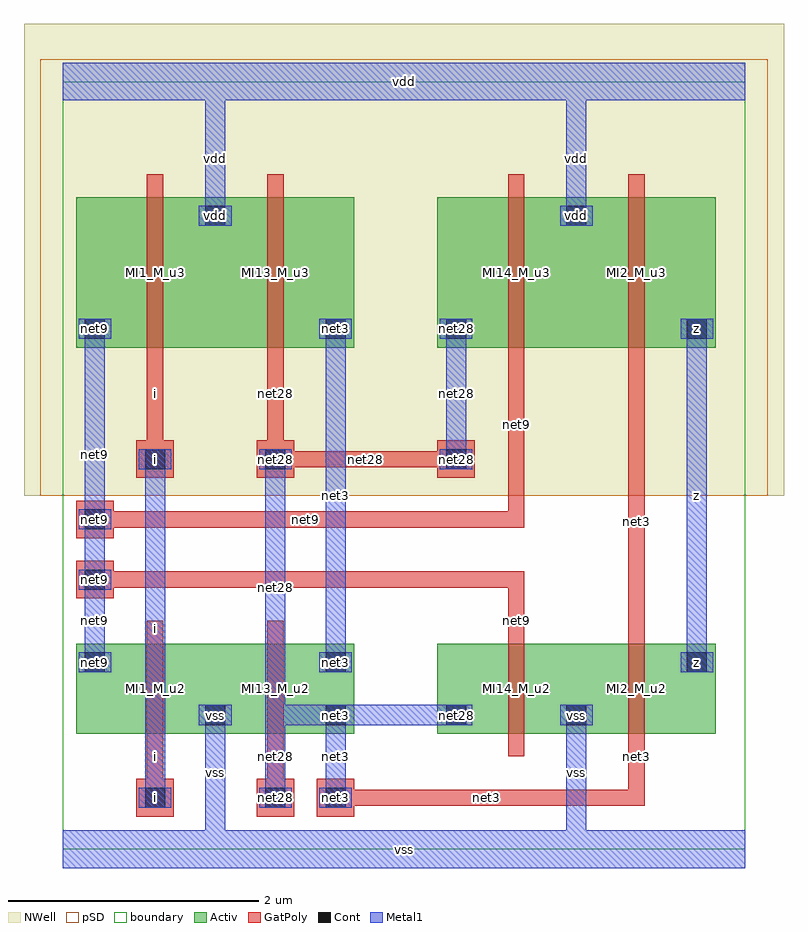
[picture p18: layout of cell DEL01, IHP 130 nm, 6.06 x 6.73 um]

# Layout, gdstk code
import gdstk
lib = gdstk.Library(unit=1e-6, precision=1e-09)
def R(c, l, rs):  # rectangles x0, y0, x1, y1
    for r in rs: c.add(gdstk.rectangle(r[:2], r[2:], *l))
def A(c, l, x, y, w, h, nx, ny, dx, dy):  # array of equal rectangles
    R(c, l, [(x+i*dx, y+j*dy, x+i*dx+w, y+j*dy+h) for i in range(nx) for j in range(ny)])
Activ = (1, 0)
GatPoly = (5, 0)
Cont = (6, 0)
Metal1 = (8, 0)
pSD = (14, 0)
NWell = (31, 0)
TEXT = (63, 0)
boundary = (189, 4)

del01 = lib.new_cell('DEL01')
A(del01, Activ, 1.065, 0.92, 0.3, 0.3, 4, 1, 0.96, 0)
R(del01, Activ, [(0.105,0.92,1.365,1.64), (1.065,0.92,2.325,1.64), (2.985,0.92,4.245,1.64), (3.945,0.92,5.205,1.64), (0.105,1.34,0.405,1.64), (2.025,1.34,2.325,1.64), (4.905,1.34,5.205,1.64), (0.105,4,1.365,5.2), (0.105,4,0.405,4.3), (1.065,4,2.325,5.2), (2.025,4,2.325,4.3), (2.985,4,4.245,5.2), (2.985,4,3.285,4.3), (3.945,4,5.205,5.2), (4.905,4,5.205,4.3), (1.065,4.9,1.365,5.2), (3.945,4.9,4.245,5.2)])
R(del01, GatPoly, [(0.585,0.26,0.885,0.56), (1.545,0.26,1.845,0.56), (2.025,0.26,2.325,0.56), (0.67,0.345,0.8,1.135), (1.63,0.345,1.76,1.135), (2.11,0.345,4.64,0.475), (4.51,0.345,4.64,1.135), (0.67,0.74,0.8,1.82), (1.63,0.74,1.76,1.82), (3.55,0.74,3.68,1.82), (4.51,0.74,4.64,1.82), (4.51,1.005,4.64,4.215), (3.55,1.425,3.68,2.215), (0.105,2,0.405,2.3), (0.19,2.085,3.68,2.215), (0.105,2.48,0.405,2.78), (0.19,2.565,3.68,2.695), (3.55,2.565,3.68,4.215), (0.585,2.96,0.885,3.26), (1.545,2.96,1.845,3.26), (2.985,2.96,3.285,3.26), (0.67,3.045,0.8,4.215), (1.63,3.045,1.76,4.215), (1.63,3.045,3.2,3.175), (0.67,3.82,0.8,5.38), (1.63,3.82,1.76,5.38), (3.55,3.82,3.68,5.38), (4.51,3.82,4.64,5.38)])
A(del01, Cont, 1.135, 0.99, 0.16, 0.16, 4, 1, 0.96, 0)
R(del01, Cont, [(0.655,0.33,0.815,0.49), (1.615,0.33,1.775,0.49), (2.095,0.33,2.255,0.49), (0.175,1.41,0.335,1.57), (2.095,1.41,2.255,1.57), (4.975,1.41,5.135,1.57), (0.175,2.07,0.335,2.23), (0.175,2.55,0.335,2.71), (0.655,3.03,0.815,3.19), (1.615,3.03,1.775,3.19), (3.055,3.03,3.215,3.19), (0.175,4.07,0.335,4.23), (2.095,4.07,2.255,4.23), (3.055,4.07,3.215,4.23), (4.975,4.07,5.135,4.23), (1.135,4.97,1.295,5.13), (4.015,4.97,4.175,5.13)])
A(del01, Metal1, 1.085, 0.99, 0.26, 0.16, 4, 1, 0.96, 0)
R(del01, Metal1, [(0,-0.15,5.44,0.15), (1.135,0.07,1.295,1.15), (4.015,0.07,4.175,1.15), (0.605,0.33,0.865,0.49), (0.655,0.33,0.815,3.19), (1.565,0.33,1.825,0.49), (1.615,0.33,1.775,1.15), (2.045,0.33,2.305,0.49), (2.095,0.33,2.255,1.15), (1.615,0.99,3.215,1.15), (1.615,0.99,1.775,3.19), (0.125,1.41,0.385,1.57), (0.175,1.41,0.335,2.23), (0.175,1.41,0.335,2.71), (2.045,1.41,2.305,1.57), (2.095,1.41,2.255,4.23), (4.925,1.41,5.185,1.57), (4.975,1.41,5.135,4.23), (0.125,2.07,0.385,2.23), (0.175,2.07,0.335,4.23), (0.125,2.55,0.385,2.71), (0.605,3.03,0.865,3.19), (1.565,3.03,1.825,3.19), (3.005,3.03,3.265,3.19), (3.055,3.03,3.215,4.23), (0.125,4.07,0.385,4.23), (2.045,4.07,2.305,4.23), (3.005,4.07,3.265,4.23), (4.925,4.07,5.185,4.23), (1.085,4.97,1.345,5.13), (1.135,4.97,1.295,6.05), (3.965,4.97,4.225,5.13), (4.015,4.97,4.175,6.05), (0,5.97,5.44,6.27)])
R(del01, pSD, [(-0.18,2.82,5.62,5.94), (-0.18,5.94,5.62,6.3)])
R(del01, NWell, [(-0.31,2.82,5.75,6.58)])
R(del01, boundary, [(0,0,5.44,6.12)])
del01.add(gdstk.FlexPath([(0.105,0.41),(5.205,0.41)], 0, ends="flush", simple_path=True, layer=63, datatype=0))  # TEXT
del01.add(gdstk.FlexPath([(0.105,1.07),(5.205,1.07)], 0, ends="flush", simple_path=True, layer=63, datatype=0))  # TEXT
del01.add(gdstk.FlexPath([(0.105,1.49),(5.205,1.49)], 0, ends="flush", simple_path=True, layer=63, datatype=0))  # TEXT
del01.add(gdstk.FlexPath([(0.105,2.15),(5.205,2.15)], 0, ends="flush", simple_path=True, layer=63, datatype=0))  # TEXT
del01.add(gdstk.FlexPath([(0.105,2.63),(5.205,2.63)], 0, ends="flush", simple_path=True, layer=63, datatype=0))  # TEXT
del01.add(gdstk.FlexPath([(0.105,3.11),(5.205,3.11)], 0, ends="flush", simple_path=True, layer=63, datatype=0))  # TEXT
del01.add(gdstk.FlexPath([(0.105,4.15),(5.205,4.15)], 0, ends="flush", simple_path=True, layer=63, datatype=0))  # TEXT
del01.add(gdstk.FlexPath([(0.105,4.71),(5.205,4.71)], 0, ends="flush", simple_path=True, layer=63, datatype=0))  # TEXT
del01.add(gdstk.FlexPath([(0.105,5.05),(5.205,5.05)], 0, ends="flush", simple_path=True, layer=63, datatype=0))  # TEXT
del01.add(gdstk.FlexPath([(0.105,5.71),(5.205,5.71)], 0, ends="flush", simple_path=True, layer=63, datatype=0))  # TEXT
del01.add(gdstk.FlexPath([(0.255,0.07),(0.255,6.05)], 0, ends="flush", simple_path=True, layer=63, datatype=0))  # TEXT
del01.add(gdstk.FlexPath([(0.735,0.07),(0.735,6.05)], 0, ends="flush", simple_path=True, layer=63, datatype=0))  # TEXT
del01.add(gdstk.FlexPath([(1.215,0.07),(1.215,6.05)], 0, ends="flush", simple_path=True, layer=63, datatype=0))  # TEXT
del01.add(gdstk.FlexPath([(1.695,0.07),(1.695,6.05)], 0, ends="flush", simple_path=True, layer=63, datatype=0))  # TEXT
del01.add(gdstk.FlexPath([(2.175,0.07),(2.175,6.05)], 0, ends="flush", simple_path=True, layer=63, datatype=0))  # TEXT
del01.add(gdstk.FlexPath([(2.655,0.07),(2.655,6.05)], 0, ends="flush", simple_path=True, layer=63, datatype=0))  # TEXT
del01.add(gdstk.FlexPath([(3.135,0.07),(3.135,6.05)], 0, ends="flush", simple_path=True, layer=63, datatype=0))  # TEXT
del01.add(gdstk.FlexPath([(3.615,0.07),(3.615,6.05)], 0, ends="flush", simple_path=True, layer=63, datatype=0))  # TEXT
del01.add(gdstk.FlexPath([(4.095,0.07),(4.095,6.05)], 0, ends="flush", simple_path=True, layer=63, datatype=0))  # TEXT
del01.add(gdstk.FlexPath([(4.575,0.07),(4.575,6.05)], 0, ends="flush", simple_path=True, layer=63, datatype=0))  # TEXT
del01.add(gdstk.FlexPath([(5.055,0.07),(5.055,6.05)], 0, ends="flush", simple_path=True, layer=63, datatype=0))  # TEXT
del01.add(gdstk.Label('net28', (3.135,1.07), layer=6, texttype=0))
del01.add(gdstk.Label('net28', (3.135,4.15), layer=6, texttype=0))
del01.add(gdstk.Label('net28', (1.695,0.41), layer=6, texttype=0))
del01.add(gdstk.Label('net28', (1.695,3.11), layer=6, texttype=0))
del01.add(gdstk.Label('net28', (3.135,3.11), layer=6, texttype=0))
del01.add(gdstk.Label('net9', (0.255,1.49), layer=6, texttype=0))
del01.add(gdstk.Label('net9', (0.255,4.15), layer=6, texttype=0))
del01.add(gdstk.Label('net9', (0.255,2.15), layer=6, texttype=0))
del01.add(gdstk.Label('net9', (0.255,2.63), layer=6, texttype=0))
del01.add(gdstk.Label('net3', (2.175,1.07), layer=6, texttype=0))
del01.add(gdstk.Label('net3', (2.175,1.49), layer=6, texttype=0))
del01.add(gdstk.Label('net3', (2.175,4.15), layer=6, texttype=0))
del01.add(gdstk.Label('net3', (2.175,0.41), layer=6, texttype=0))
del01.add(gdstk.Label('z', (5.055,1.49), layer=6, texttype=0))
del01.add(gdstk.Label('z', (5.055,4.15), layer=6, texttype=0))
del01.add(gdstk.Label('i', (0.735,0.41), layer=6, texttype=0))
del01.add(gdstk.Label('i', (0.735,3.11), layer=6, texttype=0))
del01.add(gdstk.Label('vss', (4.095,1.07), layer=6, texttype=0))
del01.add(gdstk.Label('vss', (1.215,1.07), layer=6, texttype=0))
del01.add(gdstk.Label('vdd', (4.095,5.05), layer=6, texttype=0))
del01.add(gdstk.Label('vdd', (1.215,5.05), layer=6, texttype=0))
del01.add(gdstk.Label('net28', (3.135,1.07), layer=8, texttype=0))
del01.add(gdstk.Label('net28', (3.135,4.15), layer=8, texttype=0))
del01.add(gdstk.Label('net28', (2.415,1.07), layer=8, texttype=0))
del01.add(gdstk.Label('net28', (1.695,0.74), layer=8, texttype=0))
del01.add(gdstk.Label('net28', (1.695,0.41), layer=8, texttype=0))
del01.add(gdstk.Label('net28', (1.695,2.09), layer=8, texttype=0))
del01.add(gdstk.Label('net28', (1.695,3.11), layer=8, texttype=0))
del01.add(gdstk.Label('net28', (3.135,3.63), layer=8, texttype=0))
del01.add(gdstk.Label('net28', (3.135,3.11), layer=8, texttype=0))
del01.add(gdstk.Label('net9', (0.255,1.49), layer=8, texttype=0))
del01.add(gdstk.Label('net9', (0.255,4.15), layer=8, texttype=0))
del01.add(gdstk.Label('net9', (0.255,2.15), layer=8, texttype=0))
del01.add(gdstk.Label('net9', (0.255,3.15), layer=8, texttype=0))
del01.add(gdstk.Label('net9', (0.255,2.06), layer=8, texttype=0))
del01.add(gdstk.Label('net9', (0.255,2.63), layer=8, texttype=0))
del01.add(gdstk.Label('net9', (0.255,1.82), layer=8, texttype=0))
del01.add(gdstk.Label('net3', (2.175,1.07), layer=8, texttype=0))
del01.add(gdstk.Label('net3', (2.175,1.49), layer=8, texttype=0))
del01.add(gdstk.Label('net3', (2.175,4.15), layer=8, texttype=0))
del01.add(gdstk.Label('net3', (2.175,0.74), layer=8, texttype=0))
del01.add(gdstk.Label('net3', (2.175,0.41), layer=8, texttype=0))
del01.add(gdstk.Label('net3', (2.175,2.82), layer=8, texttype=0))
del01.add(gdstk.Label('vss', (4.095,1.07), layer=8, texttype=0))
del01.add(gdstk.Label('vss', (4.095,0.61), layer=8, texttype=0))
del01.add(gdstk.Label('vss', (1.215,1.07), layer=8, texttype=0))
del01.add(gdstk.Label('vss', (1.215,0.61), layer=8, texttype=0))
del01.add(gdstk.Label('vdd', (4.095,5.05), layer=8, texttype=0))
del01.add(gdstk.Label('vdd', (4.095,5.51), layer=8, texttype=0))
del01.add(gdstk.Label('vdd', (1.215,5.05), layer=8, texttype=0))
del01.add(gdstk.Label('vdd', (1.215,5.51), layer=8, texttype=0))
del01.add(gdstk.Label('z', (5.055,1.49), layer=8, texttype=2))
del01.add(gdstk.Label('z', (5.055,4.15), layer=8, texttype=2))
del01.add(gdstk.Label('z', (5.055,2.82), layer=8, texttype=2))
del01.add(gdstk.Label('i', (0.735,0.41), layer=8, texttype=2))
del01.add(gdstk.Label('i', (0.735,1.76), layer=8, texttype=2))
del01.add(gdstk.Label('i', (0.735,3.11), layer=8, texttype=2))
del01.add(gdstk.Label('vss', (2.72,0), layer=8, texttype=2))
del01.add(gdstk.Label('vdd', (2.72,6.12), layer=8, texttype=2))
del01.add(gdstk.Label('z', (5.055,1.49), layer=8, texttype=2))
del01.add(gdstk.Label('z', (5.055,4.15), layer=8, texttype=2))
del01.add(gdstk.Label('z', (5.055,2.82), layer=8, texttype=2))
del01.add(gdstk.Label('i', (0.735,0.41), layer=8, texttype=2))
del01.add(gdstk.Label('i', (0.735,1.76), layer=8, texttype=2))
del01.add(gdstk.Label('i', (0.735,3.11), layer=8, texttype=2))
del01.add(gdstk.Label('vss', (2.72,0), layer=8, texttype=2))
del01.add(gdstk.Label('vdd', (2.72,6.12), layer=8, texttype=2))
del01.add(gdstk.Label('MI14_M_u2', (3.615,1.28), layer=1, texttype=0))
del01.add(gdstk.Label('MI13_M_u2', (1.695,1.28), layer=1, texttype=0))
del01.add(gdstk.Label('MI2_M_u2', (4.575,1.28), layer=1, texttype=0))
del01.add(gdstk.Label('MI1_M_u2', (0.735,1.28), layer=1, texttype=0))
del01.add(gdstk.Label('MI14_M_u3', (3.615,4.6), layer=1, texttype=0))
del01.add(gdstk.Label('MI13_M_u3', (1.695,4.6), layer=1, texttype=0))
del01.add(gdstk.Label('MI2_M_u3', (4.575,4.6), layer=1, texttype=0))
del01.add(gdstk.Label('MI1_M_u3', (0.735,4.6), layer=1, texttype=0))
del01.add(gdstk.Label('net28', (3.135,1.07), layer=1, texttype=0))
del01.add(gdstk.Label('net28', (3.135,4.15), layer=1, texttype=0))
del01.add(gdstk.Label('net9', (0.255,1.49), layer=1, texttype=0))
del01.add(gdstk.Label('net9', (0.255,4.15), layer=1, texttype=0))
del01.add(gdstk.Label('net3', (2.175,1.07), layer=1, texttype=0))
del01.add(gdstk.Label('net3', (2.175,1.49), layer=1, texttype=0))
del01.add(gdstk.Label('net3', (2.175,4.15), layer=1, texttype=0))
del01.add(gdstk.Label('z', (5.055,1.49), layer=1, texttype=0))
del01.add(gdstk.Label('z', (5.055,4.15), layer=1, texttype=0))
del01.add(gdstk.Label('vss', (4.095,1.07), layer=1, texttype=0))
del01.add(gdstk.Label('vss', (1.215,1.07), layer=1, texttype=0))
del01.add(gdstk.Label('vdd', (4.095,5.05), layer=1, texttype=0))
del01.add(gdstk.Label('vdd', (1.215,5.05), layer=1, texttype=0))
del01.add(gdstk.Label('z', (5.055,1.49), layer=8, texttype=25))
del01.add(gdstk.Label('z', (5.055,4.15), layer=8, texttype=25))
del01.add(gdstk.Label('z', (5.055,2.82), layer=8, texttype=25))
del01.add(gdstk.Label('i', (0.735,0.41), layer=8, texttype=25))
del01.add(gdstk.Label('i', (0.735,1.76), layer=8, texttype=25))
del01.add(gdstk.Label('i', (0.735,3.11), layer=8, texttype=25))
del01.add(gdstk.Label('vss', (2.72,0), layer=8, texttype=25))
del01.add(gdstk.Label('vdd', (2.72,6.12), layer=8, texttype=25))
del01.add(gdstk.Label('net28', (1.695,0.41), layer=5, texttype=0))
del01.add(gdstk.Label('net28', (1.695,0.74), layer=5, texttype=0))
del01.add(gdstk.Label('net28', (1.695,3.11), layer=5, texttype=0))
del01.add(gdstk.Label('net28', (1.695,3.63), layer=5, texttype=0))
del01.add(gdstk.Label('net28', (3.135,3.11), layer=5, texttype=0))
del01.add(gdstk.Label('net28', (2.415,3.11), layer=5, texttype=0))
del01.add(gdstk.Label('net9', (3.615,1.82), layer=5, texttype=0))
del01.add(gdstk.Label('net9', (1.935,2.15), layer=5, texttype=0))
del01.add(gdstk.Label('net9', (0.255,2.15), layer=5, texttype=0))
del01.add(gdstk.Label('net9', (0.255,2.63), layer=5, texttype=0))
del01.add(gdstk.Label('net9', (1.935,2.63), layer=5, texttype=0))
del01.add(gdstk.Label('net9', (3.615,3.39), layer=5, texttype=0))
del01.add(gdstk.Label('net3', (2.175,0.41), layer=5, texttype=0))
del01.add(gdstk.Label('net3', (3.375,0.41), layer=5, texttype=0))
del01.add(gdstk.Label('net3', (4.575,0.74), layer=5, texttype=0))
del01.add(gdstk.Label('net3', (4.575,2.61), layer=5, texttype=0))
del01.add(gdstk.Label('i', (0.735,0.74), layer=5, texttype=0))
del01.add(gdstk.Label('i', (0.735,0.41), layer=5, texttype=0))
del01.add(gdstk.Label('i', (0.735,3.11), layer=5, texttype=0))
del01.add(gdstk.Label('i', (0.735,3.63), layer=5, texttype=0))

lib.write_gds('DEL01.gds')
